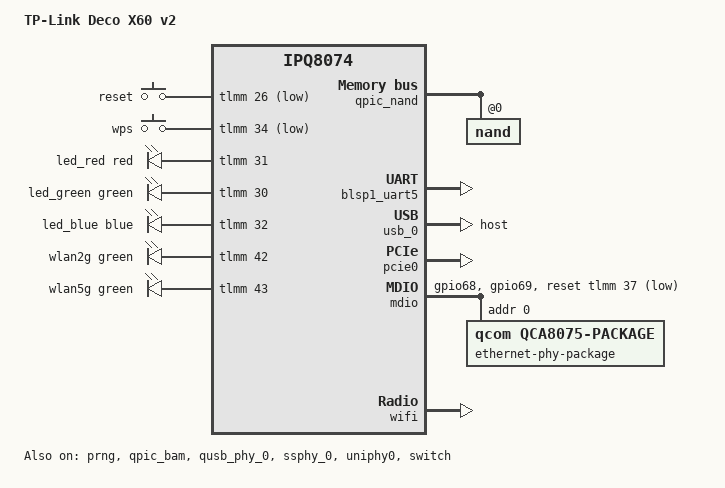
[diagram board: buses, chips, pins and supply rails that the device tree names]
// SPDX-License-Identifier: GPL-2.0-or-later OR MIT

/dts-v1/;

#include "ipq8074-512m.dtsi"
#include "ipq8074-ac-cpu.dtsi"
#include "ipq8074-ess.dtsi"
#include <dt-bindings/gpio/gpio.h>
#include <dt-bindings/input/input.h>
#include <dt-bindings/leds/common.h>

/ {
	model = "TP-Link Deco X60 v2";
	compatible = "tplink,deco-x60-v2", "qcom,ipq8074";

	aliases {
		serial0 = &blsp1_uart5;
		led-boot = &led_red;
		led-failsafe = &led_red;
		led-running = &led_green;
		led-upgrade = &led_blue;
	};

	chosen {
		stdout-path = "serial0:115200n8";
		bootargs-append = " root=/dev/ubiblock0_1 swiotlb=1 coherent_pool=2M";
	};

	keys {
		compatible = "gpio-keys";
		pinctrl-0 = <&button_pins &button_wps_pins>;
		pinctrl-names = "default";

		reset {
			label = "reset";
			linux,code = <KEY_RESTART>;
			gpios = <&tlmm 26 GPIO_ACTIVE_LOW>;
		};

		wps {
			label = "wps";
			linux,code = <KEY_WPS_BUTTON>;
			gpios = <&tlmm 34 GPIO_ACTIVE_LOW>;
		};
	};

	leds {
		compatible = "gpio-leds";
		pinctrl-0 = <&led_pins>;
		pinctrl-names = "default";
		status = "okay";

		led_red: red {
			color = <LED_COLOR_ID_RED>;
			function = LED_FUNCTION_STATUS;
			gpios = <&tlmm 31 GPIO_ACTIVE_HIGH>;
			default-state = "on";
		};

		led_green: green {
			color = <LED_COLOR_ID_GREEN>;
			function = LED_FUNCTION_STATUS;
			gpios = <&tlmm 30 GPIO_ACTIVE_HIGH>;
			default-state = "on";
		};

		led_blue: blue {
			color = <LED_COLOR_ID_BLUE>;
			function = LED_FUNCTION_STATUS;
			gpios = <&tlmm 32 GPIO_ACTIVE_HIGH>;
			default-state = "off";
		};

		wlan2g {
			color = <LED_COLOR_ID_GREEN>;
			function = LED_FUNCTION_WLAN_2GHZ;
			gpios = <&tlmm 42 GPIO_ACTIVE_HIGH>;
			linux,default-trigger = "phy1radio";
		};

		wlan5g {
			color = <LED_COLOR_ID_GREEN>;
			function = LED_FUNCTION_WLAN_5GHZ;
			gpios = <&tlmm 43 GPIO_ACTIVE_HIGH>;
			linux,default-trigger = "phy0radio";
		};
	};
};

&tlmm {
	mdio_pins: mdio-pins {
		mdc {
			pins = "gpio68";
			function = "mdc";
			drive-strength = <8>;
			bias-pull-up;
		};

		mdio {
			pins = "gpio69";
			function = "mdio";
			drive-strength = <8>;
			bias-pull-up;
		};
	};

	button_pins: button-pins {
		mux {
			pins = "gpio26";
			function = "gpio";
			drive-strength = <8>;
			bias-pull-up;
		};
	};

	button_wps_pins: wps-button-pins {
		mux {
			pins = "gpio34";
			function = "gpio";
			drive-strength = <8>;
			bias-pull-up;
		};
	};

	led_pins: led-pins {
		mux_0 {
			pins = "gpio31", "gpio32", "gpio30";  /* RGB LEDs */
			function = "gpio";
			drive-strength = <8>;
			bias-pull-down;
		};
		mux_1 {
			pins = "gpio42", "gpio43";  /* WiFi activity LEDs */
			function = "gpio";
			drive-strength = <8>;
			bias-pull-down;
		};
	};
};

&qpic_nand {
	status = "okay";

	nand@0 {
		reg = <0>;
		nand-ecc-strength = <4>;
		nand-ecc-step-size = <512>;
		nand-bus-width = <8>;

		partitions {
			compatible = "qcom,smem-part"; /* define SMEM partition table */
		};
	};
};

&blsp1_uart5 {
	status = "okay";
};

&prng {
	status = "okay";
};

&qpic_bam {
	status = "okay";
};

&qusb_phy_0 {
	status = "okay";
};

&ssphy_0 {
	status = "okay";
};

&usb_0 {
	dr_mode = "host";
	status = "okay";
};

&edma {
	status = "okay";
};

&pcie0 {
	status = "okay";
};

&mdio {
	status = "okay";
	pinctrl-0 = <&mdio_pins>;
	pinctrl-names = "default";
	reset-gpios = <&tlmm 37 GPIO_ACTIVE_LOW>;

	ethernet-phy-package@0 {
		#address-cells = <1>;
		#size-cells = <0>;
		compatible = "qcom,qca8075-package";
		reg = <0>;

		qca8075_3: ethernet-phy@3 {
			compatible = "ethernet-phy-ieee802.3-c22";
			reg = <3>;
		};

		qca8075_4: ethernet-phy@4 {
			compatible = "ethernet-phy-ieee802.3-c22";
			reg = <4>;
		};
	};
};

&uniphy0 {
	status = "okay";
};

&switch {
	status = "okay";

	ports {
		#address-cells = <1>;
		#size-cells = <0>;

		port@0 {
			reg = <0>;
			ethernet = <&edma>;
			phy-mode = "internal";
			fixed-link {
				speed = <1000>;
				full-duplex;
			};
		};

		swport4: port@4 {
			reg = <4>;
			label = "lan";
			phy-handle = <&qca8075_3>;
			phy-mode = "psgmii";
			pcs-handle = <&uniphy0 3>;
		};

		swport5: port@5 {
			reg = <5>;
			label = "wan";
			phy-handle = <&qca8075_4>;
			phy-mode = "psgmii";
			pcs-handle = <&uniphy0 4>;
		};
	};
};

&wifi {
	status = "okay";
	qcom,ath11k-fw-memory-mode = <1>;
	qcom,ath11k-calibration-variant = "TPLink-Deco-X60-v2";
};


